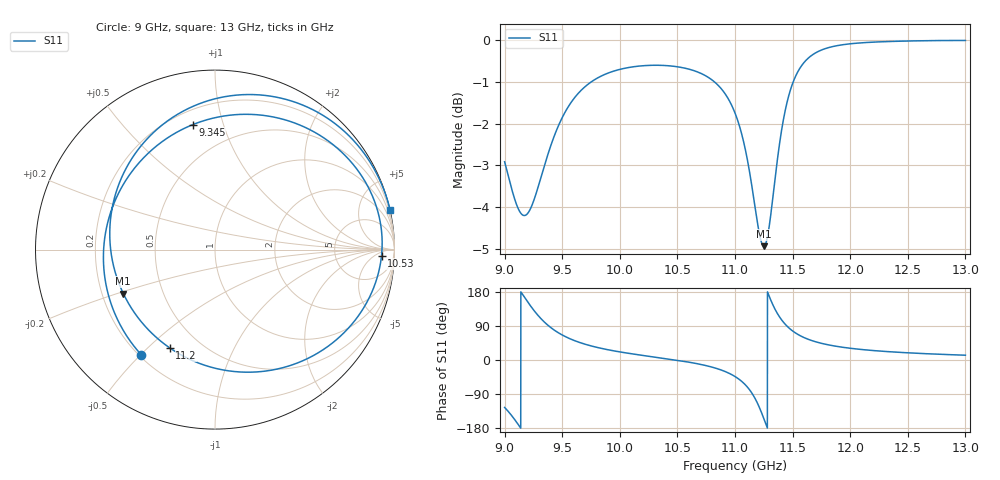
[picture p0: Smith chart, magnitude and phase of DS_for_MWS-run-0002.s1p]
! TOUCHSTONE file generated by CST DESIGN STUDIO
! Date and time: Tue Feb  4 16:47:07 2025
! Project name: C:\Work\MatlabApps\UnitCellOptimizationMatlab\CST\unitcell.cst
! Tree item: Tasks\Sweep1\SPara1\S-Parameters
! Header version: 2024
! Port assignment regex: !\s*Touchstone port\s*([0-9]+)\s*=\s*(CST MWS port|CST DES external port|CST DES block port)\s*(.+)\s* \(\"(.*)\"\)(\s*mode\s*([0-9]+))?.*
! Touchstone port assignment:
! Touchstone port 1 = CST DES external port 1 ("")
# GHz S MA R 50
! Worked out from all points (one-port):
!   4001 points, 9 GHz to 13 GHz, reference 50 ohm
!   lowest |S11| = -4.9 dB at 11.25 GHz (marker M1), VSWR 3.61, Z = 14.5 - j10.5 ohm
!   |S11| at or under -10 dB: nowhere
!   S11 on the Smith chart (normalised r, x): 9 GHz: 0.21, -0.50; 9.345 GHz: 0.29, +0.80; 10.53 GHz: 22, -11; 11.2 GHz: 0.34, -0.59; 13 GHz: 0.01, +9.03
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9  0.7152 -125.2
9.091  0.6429 -158.6
9.162  0.6169 170.3
9.258  0.6454 129.5
9.345  0.7071 100.2
9.415  0.7574 82.3
9.5  0.8079 66.0
9.711  0.883 40.5
10  0.923 21.4
10.5  0.9297 -0.8
10.528  0.9283 -2.1
10.821  0.8919 -20.6
10.92  0.8605 -31.1
11  0.8183 -43.5
11.062  0.7685 -57.4
11.119  0.7049 -75.7
11.16  0.6501 -93.9
11.196  0.6031 -114.6
11.25  0.5665 -154.4
11.309  0.6154 159.2
11.378  0.737 117.7
11.433  0.8203 95.3
11.5  0.8877 76.7
11.588  0.9366 60.8
11.692  0.9648 48.8
12  0.9906 31.0
12.5  0.9983 19.0
13  0.9998 12.6
